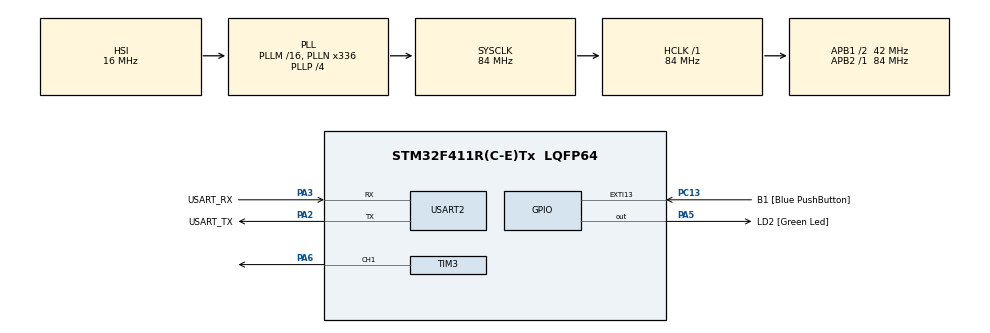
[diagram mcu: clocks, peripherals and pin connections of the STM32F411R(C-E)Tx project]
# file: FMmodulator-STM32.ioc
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Mcu.Family=STM32F4
Mcu.Name=STM32F411R(C-E)Tx
Mcu.Package=LQFP64
NVIC.EXTI15_10_IRQn=true\:0\:1\:true\:false\:true\:true\:true
NVIC.PriorityGroup=NVIC_PRIORITYGROUP_0
NVIC.TIM4_IRQn=true\:0\:0\:false\:false\:true\:true\:true
PA13.GPIO_Label=TMS
PA13.Mode=Serial_Wire
PA13.Signal=SYS_JTMS-SWDIO
PA14.GPIO_Label=TCK
PA14.Mode=Serial_Wire
PA14.Signal=SYS_JTCK-SWCLK
PA2.GPIO_Label=USART_TX
PA2.Mode=Asynchronous
PA2.Signal=USART2_TX
PA3.GPIO_Label=USART_RX
PA3.Mode=Asynchronous
PA3.Signal=USART2_RX
PA5.GPIO_Label=LD2 [Green Led]
PA5.Signal=GPIO_Output
PA6.Signal=S_TIM3_CH1
PB3.GPIO_Label=SWO
PB3.Signal=SYS_JTDO-SWO
PC13-ANTI_TAMP.GPIO_Label=B1 [Blue PushButton]
PC13-ANTI_TAMP.GPIO_ModeDefaultEXTI=GPIO_MODE_IT_FALLING
PC13-ANTI_TAMP.Signal=GPXTI13
PC14-OSC32_IN.Mode=LSE-External-Oscillator
PC14-OSC32_IN.Signal=RCC_OSC32_IN
PC15-OSC32_OUT.Mode=LSE-External-Oscillator
PC15-OSC32_OUT.Signal=RCC_OSC32_OUT
PH0\ -\ OSC_IN.Mode=HSE-External-Clock-Source
PH0\ -\ OSC_IN.Signal=RCC_OSC_IN
PH1\ -\ OSC_OUT.Mode=HSE-External-Clock-Source
PH1\ -\ OSC_OUT.Signal=RCC_OSC_OUT
ProjectManager.HeapSize=0x200
ProjectManager.StackSize=0x400
ProjectManager.TargetToolchain=STM32CubeIDE
RCC.48MHZClocksFreq_Value=84000000
RCC.AHBFreq_Value=84000000
RCC.APB1CLKDivider=RCC_HCLK_DIV2
RCC.APB1Freq_Value=42000000
RCC.APB1TimFreq_Value=84000000
RCC.APB2Freq_Value=84000000
RCC.APB2TimFreq_Value=84000000
RCC.CortexFreq_Value=84000000
RCC.FLatency-AdvancedSettings=FLASH_LATENCY_2
RCC.HCLKFreq_Value=84000000
RCC.HSE_VALUE=8000000
RCC.HSI_VALUE=16000000
RCC.PLLN=336
RCC.PLLP=RCC_PLLP_DIV4
RCC.SYSCLKFreq_VALUE=84000000
RCC.SYSCLKSource=RCC_SYSCLKSOURCE_PLLCLK
RCC.VCOOutputFreq_Value=336000000
SH.S_TIM3_CH1.0=TIM3_CH1,PWM Generation1 CH1
TIM3.Channel-PWM\ Generation1\ CH1=TIM_CHANNEL_1
TIM3.Period=800
TIM3.Prescaler=0
TIM4.Period=4
USART2.VirtualMode=VM_ASYNC
VP_TIM3_VS_ClockSourceINT.Mode=Internal
VP_TIM4_VS_ClockSourceINT.Mode=Internal
board=NUCLEO-F411RE

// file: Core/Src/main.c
/* USER CODE BEGIN Header */
/**
  ******************************************************************************
  * @file           : main.c
  * @brief          : Main program body
  ******************************************************************************
  * @attention
  *
  * Copyright (c) 2023 STMicroelectronics.
  * All rights reserved.
  *
  * This software is licensed under terms that can be found in the LICENSE file
  * in the root directory of this software component.
  * If no LICENSE file comes with this software, it is provided AS-IS.
  *
  ******************************************************************************
  */
/* USER CODE END Header */
#include "main.h"
#include "tim.h"
#include "usart.h"
#include "gpio.h"

/* USER CODE BEGIN Includes */
#include "working.h"
#include "messages.h"
/* USER CODE END Includes */

/* USER CODE BEGIN PD */
#define DEBUG			1
/* USER CODE END PD */

/* USER CODE BEGIN PV */
typedef enum{
	init = 0,
	run,
	stop,
	idle
}AppState;

AppState appState = init;
uint8_t rxByte = 0;
uint8_t rxBuff[10] = {0};
static float tSample;
uint32_t freqArray[N_POINTS] = {0};

/* USER CODE END PV */

void SystemClock_Config(void);
/* USER CODE BEGIN PFP */
void LEDToggling(GPIO_TypeDef *LEDPort, uint16_t LEDPin, uint32_t mstime);
void LEDFixed(GPIO_TypeDef *LEDPort, uint16_t LEDPin);
static void resetSignal(Signal sig);

/* USER CODE END PFP */

/* USER CODE BEGIN 0 */
void LEDToggling(GPIO_TypeDef *LEDPort, uint16_t LEDPin, uint32_t mstime){
	static uint32_t sec = 0;
	uint32_t now;
	now = HAL_GetTick();

	if((now - sec) > mstime){ //toggle every mstime (expressed in ms)
		HAL_GPIO_TogglePin(LEDPort, LEDPin);
		sec = now;
	}
}

void LEDFixed(GPIO_TypeDef *LEDPort, uint16_t LEDPin){
	HAL_GPIO_WritePin(LEDPort, LEDPin, GPIO_PIN_SET);
}

void LEDOff(GPIO_TypeDef *LEDPort, uint16_t LEDPin){
	HAL_GPIO_WritePin(LEDPort, LEDPin, GPIO_PIN_RESET);
}

static void resetSignal(Signal sig){
	sig.fCentral = 0;
	sig.fRange = 0;
	sig.fFreq = 0;
	//sig.fSampling = 0;
}

/* USER CODE END 0 */

int main(void)
{
  /* USER CODE BEGIN 1 */

  Signal sig = {
  		.fFreq = 10, //Hz
		  .fCentral = 100, //kHz
		  .fRange = 5 //kHz
		  };

  float fullSin[N_POINTS]; //1024
  float sin[N_POINTS/4]; // 256
  float cos[N_POINTS/4]; //256

  resetSignal(sig);

  /* USER CODE END 1 */

  /* MCU Configuration--------------------------------------------------------*/

  /* Reset of all peripherals, Initializes the Flash interface and the Systick. */
  HAL_Init();

  /* Configure the system clock */
  SystemClock_Config();

  /* Initialize all configured peripherals */
  MX_GPIO_Init();
  MX_USART2_UART_Init();
  MX_TIM3_Init();
  MX_TIM4_Init();
  /* USER CODE BEGIN 2 */
  // Format the sin
  computeSinCos(sin, cos, N_POINTS);
  formatSin(fullSin, sin, cos);

  // Convert to PWM values
  convertToPWMlogic(freqArray, fullSin, sig, N_POINTS);

  // Set this refresh rate to TIM4 dedicated to sampling
  tSample = F_CLOCK/(N_POINTS * sig.fFreq); //20Hz -> 4101 --- 20kHz -> 4 refresh rate
  __HAL_TIM_SET_AUTORELOAD(&htim4, tSample);

  /* USER CODE END 2 */

  /* Infinite loop */
  while (1)
  {

    /* USER CODE BEGIN 3 */
	// FSM management
	switch(appState){
		case init:
			//__HAL_TIM_SET_AUTORELOAD(&htim3, freqArray[0]);
			//__HAL_TIM_SET_COMPARE(&htim3, TIM_CHANNEL_1, freqArray[0]/2);
			HAL_TIM_PWM_Start(&htim3, TIM_CHANNEL_1);
			HAL_TIM_Base_Start_IT(&htim4);
			appState = run;
			break;

		case run:
			LEDToggling(LD2_GPIO_Port, LD2_Pin, 200);
			break;

		case idle:
			LEDFixed(LD2_GPIO_Port, LD2_Pin);
			break;

		case stop:
			HAL_TIM_PWM_Stop(&htim3, TIM_CHANNEL_1);
			HAL_TIM_Base_Stop_IT(&htim4);
			appState = idle;
			break;
  }
  }
  /* USER CODE END 3 */
}

void SystemClock_Config(void)
{
  RCC_OscInitTypeDef RCC_OscInitStruct = {0};
  RCC_ClkInitTypeDef RCC_ClkInitStruct = {0};

  /** Configure the main internal regulator output voltage
  */
  __HAL_RCC_PWR_CLK_ENABLE();
  __HAL_PWR_VOLTAGESCALING_CONFIG(PWR_REGULATOR_VOLTAGE_SCALE1);
  /** Initializes the RCC Oscillators according to the specified parameters
  * in the RCC_OscInitTypeDef structure.
  */
  RCC_OscInitStruct.OscillatorType = RCC_OSCILLATORTYPE_HSI;
  RCC_OscInitStruct.HSIState = RCC_HSI_ON;
  RCC_OscInitStruct.HSICalibrationValue = RCC_HSICALIBRATION_DEFAULT;
  RCC_OscInitStruct.PLL.PLLState = RCC_PLL_ON;
  RCC_OscInitStruct.PLL.PLLSource = RCC_PLLSOURCE_HSI;
  RCC_OscInitStruct.PLL.PLLM = 16;
  RCC_OscInitStruct.PLL.PLLN = 336;
  RCC_OscInitStruct.PLL.PLLP = RCC_PLLP_DIV4;
  RCC_OscInitStruct.PLL.PLLQ = 4;
  if (HAL_RCC_OscConfig(&RCC_OscInitStruct) != HAL_OK)
  {
    Error_Handler();
  }
  /** Initializes the CPU, AHB and APB buses clocks
  */
  RCC_ClkInitStruct.ClockType = RCC_CLOCKTYPE_HCLK|RCC_CLOCKTYPE_SYSCLK
                              |RCC_CLOCKTYPE_PCLK1|RCC_CLOCKTYPE_PCLK2;
  RCC_ClkInitStruct.SYSCLKSource = RCC_SYSCLKSOURCE_PLLCLK;
  RCC_ClkInitStruct.AHBCLKDivider = RCC_SYSCLK_DIV1;
  RCC_ClkInitStruct.APB1CLKDivider = RCC_HCLK_DIV2;
  RCC_ClkInitStruct.APB2CLKDivider = RCC_HCLK_DIV1;

  if (HAL_RCC_ClockConfig(&RCC_ClkInitStruct, FLASH_LATENCY_2) != HAL_OK)
  {
    Error_Handler();
  }
}

/* USER CODE BEGIN 4 */
void HAL_GPIO_EXTI_Callback(uint16_t GPIO_Pin){

  if(GPIO_Pin != B1_Pin)
  	return;

  if(appState == run)
  	appState = stop;
  else if(appState == stop)
  	appState = run;
}

void HAL_TIM_PeriodElapsedCallback(TIM_HandleTypeDef *htim){
	static uint8_t i = 0;

	if(htim->Instance != TIM4)
		return;

	// Update the ARR of TIM3 and his period to half way
	__HAL_TIM_SET_AUTORELOAD(&htim3, freqArray[i]);
	__HAL_TIM_SET_COMPARE(&htim3, TIM_CHANNEL_1, freqArray[i]/2);
	i++;

	if(i > (N_POINTS - 1))
		i = 0;

}

/* USER CODE END 4 */

void Error_Handler(void)
{
  __disable_irq();
  while (1)
  {
  }
}
